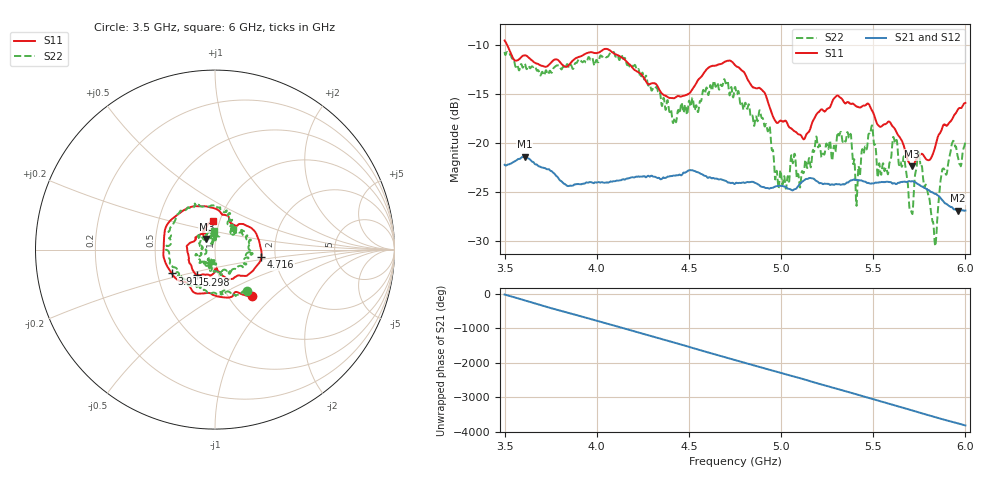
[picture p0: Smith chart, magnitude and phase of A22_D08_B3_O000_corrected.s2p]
! Created with skrf 1.9.0 (http://scikit-rf.org).
# Hz S RI R 50.0
!freq ReS11 ImS11 ReS21 ImS21 ReS12 ImS12 ReS22 ImS22
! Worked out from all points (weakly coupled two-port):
!   1601 points, 3.5 GHz to 6 GHz, reference 50 ohm
!   highest |S21| = -21.42 dB at 3.609 GHz (marker M1); lowest = -26.9 dB at 5.959 GHz (marker M2)
!   lowest |S11| = -22.4 dB at 5.711 GHz (marker M3), VSWR 1.16, Z = 45.2 + j5.38 ohm
!   |S11| at or under -10 dB: 3.513 GHz to end of sweep
!   |S22| runs from -30.5 to -10.7 dB; largest |S21 - S12| = 0.001
!   S11 on the Smith chart (normalised r, x): 3.5 GHz: 1.27, -0.75; 3.911 GHz: 0.59, -0.17; 4.716 GHz: 1.69, -0.15; 5.298 GHz: 0.79, -0.23; 6 GHz: 0.93, +0.31
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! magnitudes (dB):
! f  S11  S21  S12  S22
! 3.5 GHz  -9.6  -22.2  -22.2  -10.7
! 3.609 GHz  -11.1  -21.4  -21.4  -11.9
! 3.911 GHz  -11.2  -24.2  -24.2  -11.6
! 3.917 GHz  -11.2  -24.2  -24.2  -11.7
! 4.334 GHz  -14.4  -23.6  -23.5  -14.8
! 4.716 GHz  -11.6  -24.0  -24.1  -14.5
! 4.75 GHz  -12.1  -24.2  -24.1  -14.3
! 4.93 GHz  -15.9  -24.6  -24.6  -18.8
! 4.978 GHz  -18.0  -24.4  -24.4  -23.0
! 5.167 GHz  -18.0  -23.6  -23.6  -21.6
! 5.298 GHz  -15.3  -24.2  -24.2  -20.4
! 5.37 GHz  -15.9  -23.9  -23.9  -19.5
! 5.416 GHz  -16.3  -23.8  -23.9  -23.8
! 5.486 GHz  -16.4  -24.2  -24.1  -18.9
! 5.584 GHz  -17.8  -24.0  -24.0  -22.6
! 5.619 GHz  -18.6  -24.1  -24.2  -20.0
! 5.711 GHz  -22.4  -23.9  -23.9  -27.2
! 5.752 GHz  -21.3  -24.3  -24.3  -21.5
! 5.836 GHz  -20.4  -25.2  -25.1  -30.5
! 5.875 GHz  -18.4  -25.8  -25.8  -22.7
! 5.959 GHz  -16.6  -26.9  -26.9  -21.4
! 6 GHz  -15.9  -26.9  -26.9  -19.8
